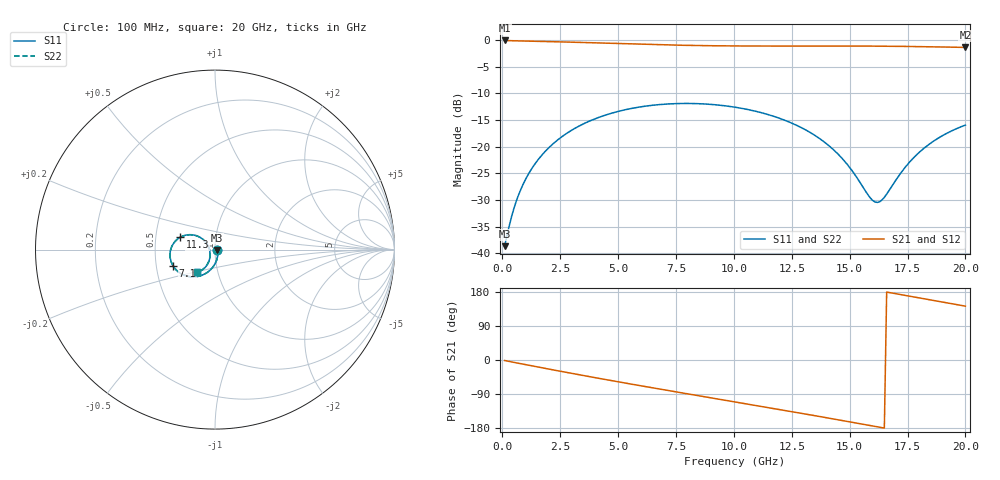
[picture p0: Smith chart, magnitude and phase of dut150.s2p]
! Touchstone file exported from HFSS 2026.1.0
!  File:  C:/ffzhzh/LocalFiles/Ansys_Project_Files/temp_train_TSV_RDL_150_1783051990_46780.aedt
!  Generated:  12:18:39 PM Jul  3, 2026
!  Design:  TSV_RDL
!  Project:  temp_train_TSV_RDL_150_1783051990_46780
! Variables:
!  h_bsmrdl = 5.64um
!  h_ox = 20um
!  h_rdl = 5um
!  h_sub = 50.64um
!  h_tmrdl = 2.45um
!  h_tsv = 50.64um
!  h_via = 3um
!  l_bsmrdl = 801.65um
!  l_sub = 3751.51um
!  l_tmrdl = 194.07um
!  m_sub = 200um
!  pitch = 31.07um
!  r_tsv = 13.73um
!  s_tmrdl = 10um
!  w_bsmrdl = 26.84um
!  w_sub = 500um
!  w_tmrdl = 29.92um
!  x_tsv_center1 = 209.03um
!  x_tsv_center2 = 1037.52um
!  x_tsv_center3 = 1261.51um
!  x_tsv_center4 = 2090um
!  x_tsv_center5 = 2313.99um
!  x_tsv_center6 = 3142.48um
# GHz S MA R 50.000000
! Terminal data exported
! Port[1] = TM_RDL1_1_T1
! Port[2] = TM_RDL5_1_T1
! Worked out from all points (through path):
!   200 points, 100 MHz to 20 GHz, reference 50 ohm
!   highest |S21| = -0.10 dB at 100 MHz (marker M1); lowest = -1.4 dB at 20 GHz (marker M2)
!   group delay of S21, straight-line fit = 29.8 ps
!   lowest |S11| = -38.7 dB at 100 MHz (marker M3), VSWR 1.02, Z = 51.2 - j0.21 ohm
!   |S11| at or under -10 dB: start of sweep to end of sweep
!   |S22| runs from -38.7 to -11.9 dB; largest |S21 - S12| = 1.5e-14
!   S11 on the Smith chart (normalised r, x): 100 MHz: 1.02, -0.00; 7.1 GHz: 0.61, -0.12; 11.3 GHz: 0.67, +0.10; 20 GHz: 0.80, -0.21
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0.1  0.01167 -10.1  0.9885 -1.4  0.9885 -1.4  0.01167 -10.1
! Gamma 0 0 0 0
! Port Impedance 50 0 50 0
0.4  0.02206 -45.0  0.9828 -5.1  0.9828 -5.1  0.02206 -45.0
0.6  0.03065 -59.2  0.9805 -7.5  0.9805 -7.5  0.03065 -59.2
0.9  0.04441 -72.3  0.9776 -11.0  0.9776 -11.0  0.0444 -72.3
1.3  0.06351 -83.3  0.9735 -15.7  0.9735 -15.7  0.06351 -83.3
2.2  0.1067 -99.8  0.963 -26.2  0.963 -26.2  0.1067 -99.8
3.5  0.1633 -117.9  0.9452 -40.9  0.9452 -40.9  0.1633 -118.0
5.1  0.2163 -137.2  0.9221 -58.6  0.9221 -58.6  0.2163 -137.2
6.8  0.2479 -155.8  0.9005 -76.7  0.9005 -76.7  0.2479 -155.8
7.1  0.2506 -158.9  0.8973 -79.8  0.8973 -79.8  0.2506 -158.9
8.6  0.252 -174.1  0.8847 -95.5  0.8847 -95.5  0.2519 -174.2
10.1  0.2332 171.3  0.8779 -111.0  0.8779 -111.0  0.2332 171.3
11.3  0.2049 160.2  0.876 -123.5  0.876 -123.5  0.2049 160.2
13.4  0.1315 143.6  0.8766 -145.8  0.8766 -145.8  0.1316 143.7
14.7  0.07657 140.1  0.8768 -159.9  0.8768 -159.9  0.07676 140.2
16  0.03126 177.1  0.8747 -174.2  0.8747 -174.2  0.03177 177.2
16.3  0.03049 -159.2  0.8738 -177.5  0.8738 -177.5  0.031 -159.6
16.7  0.03865 -134.6  0.8724 178.1  0.8724 178.1  0.03904 -135.3
17.4  0.06405 -118.8  0.8691 170.4  0.8691 170.4  0.06426 -119.5
18.1  0.09213 -117.0  0.8649 162.7  0.8649 162.7  0.09223 -117.6
19  0.1264 -120.8  0.8586 152.9  0.8586 152.9  0.1264 -121.3
20  0.1592 -127.8  0.8508 142.1  0.8508 142.1  0.1591 -128.2
